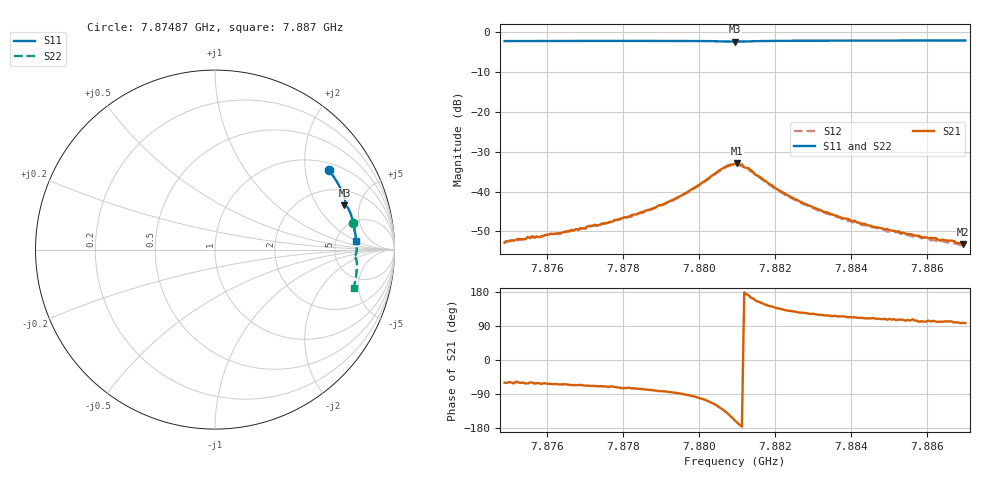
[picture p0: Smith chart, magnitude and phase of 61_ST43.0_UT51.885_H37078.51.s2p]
#  HZ  S  DB  R  50.00
! Rohde & Schwarz Vector Network Analyzer
! Rohde-Schwarz,ZNB20-2Port,1311601062101988,3.16
! Created: UTC 1/12/2023, 6:33:41 PM
! freq[Hz]  db:S11  ang:S11  db:S21  ang:S21  db:S12  ang:S12  db:S22  ang:S22
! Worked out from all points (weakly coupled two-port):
!   201 points, 7.87487 GHz to 7.887 GHz, reference 50 ohm
!   highest |S21| = -32.90 dB at 7.881 GHz (marker M1); lowest = -53.2 dB at 7.88694 GHz (marker M2)
!   lowest |S11| = -2.4 dB at 7.88094 GHz (marker M3), VSWR 7.40, Z = 151 + j178 ohm
!   |S11| at or under -10 dB: nowhere
!   |S22| runs from -2.2 to -1.9 dB; largest |S21 - S12| = 0.0018
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7.874871e9  -2.23 34.9  -52.82 -59.7  -52.46 -60.8  -2.14 10.8
7.875235e9  -2.22 33.9  -51.86 -59.2  -52.23 -62.4  -2.14 10.0
7.875417e9  -2.22 33.4  -51.97 -62.0  -51.89 -65.4  -2.13 9.6
7.875477e9  -2.22 33.2  -51.38 -62.0  -52.02 -63.2  -2.12 9.4
7.875781e9  -2.21 32.4  -51.45 -61.2  -51.31 -64.1  -2.11 8.7
7.876933e9  -2.20 29.3  -49.19 -67.2  -49.28 -70.2  -2.09 6.0
7.878146e9  -2.18 25.9  -46.29 -73.3  -46.36 -78.2  -2.05 3.2
7.878935e9  -2.18 23.7  -43.45 -82.3  -43.73 -84.5  -2.05 1.3
7.879663e9  -2.19 21.6  -40.25 -91.9  -40.44 -95.6  -2.07 -0.5
7.880694e9  -2.34 19.0  -33.72 -137.1  -33.92 -140.7  -2.20 -2.8
7.880936e9  -2.36 18.9  -33.15 -160.0  -33.30 -162.5  -2.24 -2.8
7.880997e9  -2.36 18.8  -32.90 -165.7  -33.33 -168.2  -2.24 -2.8
7.8813e9  -2.30 18.6  -34.17 170.2  -34.56 165.9  -2.17 -2.8
7.881482e9  -2.25 18.2  -35.88 156.5  -35.81 154.3  -2.13 -3.1
7.882271e9  -2.16 16.0  -40.69 131.1  -40.88 128.2  -2.01 -5.0
7.882999e9  -2.13 13.9  -44.01 122.0  -44.11 118.3  -1.99 -6.8
7.883787e9  -2.11 11.8  -46.75 115.2  -47.06 112.0  -1.96 -8.6
7.885e9  -2.09 8.6  -49.68 108.5  -50.03 105.0  -1.94 -11.2
7.886334e9  -2.08 5.1  -52.30 101.2  -52.45 98.5  -1.92 -14.2
7.886638e9  -2.08 4.3  -52.33 101.9  -52.77 97.7  -1.92 -14.8
7.886941e9  -2.07 3.5  -53.20 98.4  -53.70 94.2  -1.92 -15.5
7.887002e9  -2.07 3.3  -52.92 97.4  -53.45 95.4  -1.92 -15.6
